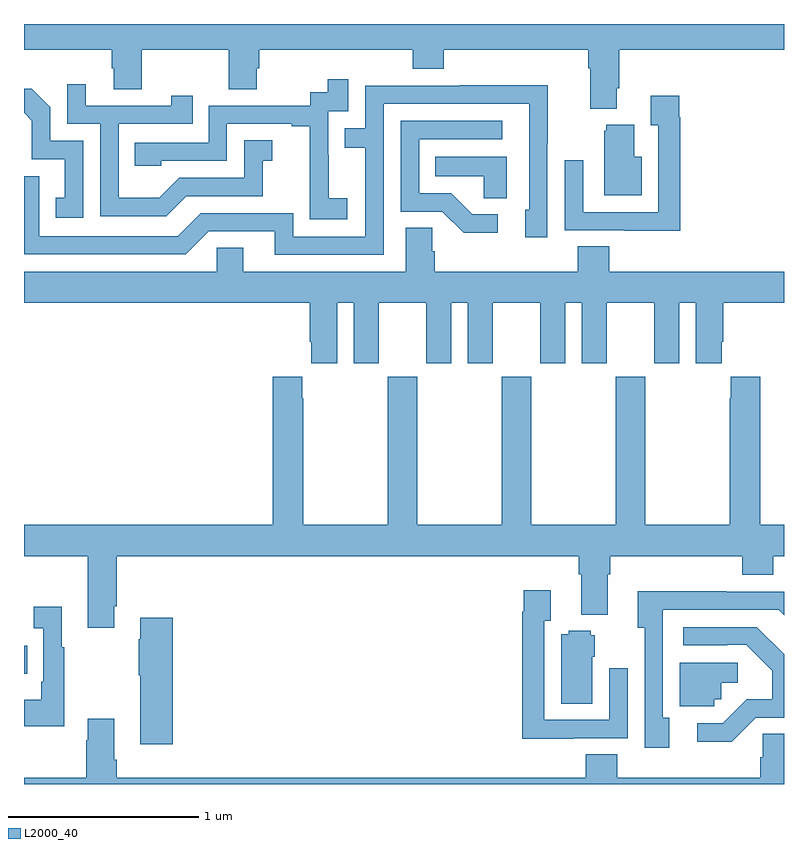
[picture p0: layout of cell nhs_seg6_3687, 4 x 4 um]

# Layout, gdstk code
import gdstk
lib = gdstk.Library(unit=1e-6, precision=1e-09)
def R(c, l, rs):  # rectangles x0, y0, x1, y1
    for r in rs: c.add(gdstk.rectangle(r[:2], r[2:], *l))
def P(c, l, *ps):  # polygons
    for p in ps: c.add(gdstk.Polygon(p, *l))
L2000_40 = (2000, 40)

nhs_seg6_3687 = lib.new_cell('nhs_seg6_3687')
R(nhs_seg6_3687, L2000_40, [(327,916.079,327.017,916.227)])
P(nhs_seg6_3687, L2000_40, [(330.121,919.162),(330.134,919.162),(330.134,919.364),(331,919.364),(331,919.5),(327,919.5),(327,919.364),(327.461,919.364),(327.461,919.266),(327.473,919.266),(327.473,919.156),(327.621,919.156),(327.621,919.364),(328.078,919.364),(328.078,919.156),(328.225,919.156),(328.225,919.266),(328.238,919.266),(328.238,919.364),(329.045,919.364),(329.045,919.265),(329.21,919.265),(329.21,919.364),(329.969,919.364),(329.969,919.268),(329.981,919.268),(329.981,919.055),(330.121,919.055)],
  [(328.702,918.583),(328.604,918.583),(328.604,918.812),(328.602,918.812),(328.602,919.041),(328.707,919.041),(328.707,919.21),(328.599,919.21),(328.599,919.14),(328.506,919.14),(328.506,919.071),(327.972,919.071),(327.972,918.876),(327.583,918.876),(327.583,918.753),(327.723,918.753),(327.723,918.78),(328.068,918.78),(328.068,918.975),(328.409,918.975),(328.409,918.963),(328.505,918.963),(328.505,918.679),(328.504,918.679),(328.504,918.473),(328.702,918.473)],
  [(327.853,918.594),(328.257,918.594),(328.257,918.779),(328.306,918.779),(328.306,918.889),(328.158,918.889),(328.158,918.69),(327.816,918.69),(327.712,918.586),(327.498,918.586),(327.498,918.975),(327.887,918.975),(327.887,919.123),(327.776,919.123),(327.776,919.071),(327.325,919.071),(327.325,919.183),(327.228,919.183),(327.228,918.975),(327.402,918.975),(327.402,918.489),(327.748,918.489)],
  [(328.893,919.08),(329.658,919.08),(329.658,918.522),(329.639,918.522),(329.639,918.378),(329.754,918.378),(329.754,918.871),(329.757,918.871),(329.757,919.178),(329.293,919.178),(329.293,919.176),(328.797,919.176),(328.797,918.951),(328.687,918.951),(328.687,918.85),(328.797,918.85),(328.797,918.381),(328.416,918.381),(328.416,918.504),(327.93,918.504),(327.81,918.384),(327.081,918.384),(327.081,918.699),(327,918.699),(327,918.288),(327.852,918.288),(327.972,918.408),(328.319,918.408),(328.319,918.285),(328.893,918.285)],
  [(327.312,918.885),(327.138,918.885),(327.138,919.062),(327.04,919.16),(327,919.16),(327,919.032),(327.042,918.99),(327.042,918.789),(327.215,918.789),(327.215,918.585),(327.166,918.585),(327.166,918.48),(327.312,918.48)],
  [(330.455,919.01),(330.448,919.01),(330.448,919.123),(330.299,919.123),(330.299,918.967),(330.339,918.967),(330.339,918.51),(329.943,918.51),(329.943,918.784),(329.847,918.784),(329.847,918.414),(330.163,918.414),(330.163,918.413),(330.455,918.413)],
  [(329.494,918.498),(329.359,918.498),(329.248,918.609),(329.079,918.609),(329.079,918.894),(329.518,918.894),(329.518,918.99),(328.983,918.99),(328.983,918.513),(329.202,918.513),(329.315,918.401),(329.494,918.401)],
  [(330.25,918.802),(330.211,918.802),(330.211,918.97),(330.065,918.97),(330.065,918.939),(330.053,918.939),(330.053,918.599),(330.25,918.599)],
  [(329.542,918.802),(329.164,918.802),(329.164,918.698),(329.421,918.698),(329.421,918.583),(329.542,918.583)],
  [(328.648,918.032),(328.736,918.032),(328.736,917.715),(328.867,917.715),(328.867,918.032),(329.117,918.032),(329.117,917.715),(329.248,917.715),(329.248,918.032),(329.336,918.032),(329.336,917.715),(329.467,917.715),(329.467,918.032),(329.717,918.032),(329.717,917.715),(329.848,917.715),(329.848,918.032),(329.936,918.032),(329.936,917.715),(330.067,917.715),(330.067,918.032),(330.317,918.032),(330.317,917.715),(330.448,917.715),(330.448,918.032),(330.536,918.032),(330.536,917.715),(330.673,917.715),(330.673,917.827),(330.68,917.827),(330.68,918.032),(331,918.032),(331,918.196),(330.08,918.196),(330.08,918.329),(329.915,918.329),(329.915,918.196),(329.162,918.196),(329.162,918.305),(329.148,918.305),(329.148,918.428),(329.009,918.428),(329.009,918.196),(328.153,918.196),(328.153,918.323),(328.014,918.323),(328.014,918.196),(327,918.196),(327,918.032),(328.505,918.032),(328.505,917.827),(328.511,917.827),(328.511,917.715),(328.648,917.715)],
  [(327.475,916.435),(327.488,916.435),(327.488,916.7),(329.921,916.7),(329.921,916.604),(329.933,916.604),(329.933,916.391),(330.073,916.391),(330.073,916.604),(330.086,916.604),(330.086,916.7),(330.779,916.7),(330.779,916.601),(330.944,916.601),(330.944,916.7),(331,916.7),(331,916.864),(330.875,916.864),(330.875,917.644),(330.719,917.644),(330.719,917.531),(330.715,917.531),(330.715,916.864),(330.27,916.864),(330.27,917.644),(330.115,917.644),(330.115,916.864),(329.67,916.864),(329.67,917.644),(329.515,917.644),(329.515,916.864),(329.07,916.864),(329.07,917.644),(328.915,917.644),(328.915,916.864),(328.47,916.864),(328.47,917.531),(328.465,917.531),(328.465,917.644),(328.31,917.644),(328.31,916.864),(327,916.864),(327,916.7),(327.335,916.7),(327.335,916.323),(327.475,916.323)],
  [(329.893,915.741),(330.177,915.741),(330.177,916.108),(330.081,916.108),(330.081,915.837),(329.739,915.837),(329.739,916.358),(329.773,916.358),(329.773,916.519),(329.631,916.519),(329.631,916.406),(329.623,916.406),(329.623,915.737),(329.893,915.737)],
  [(330.397,915.85),(330.363,915.85),(330.363,916.416),(330.972,916.416),(331,916.388),(331,916.512),(330.695,916.512),(330.695,916.514),(330.23,916.514),(330.23,916.322),(330.267,916.322),(330.267,915.69),(330.397,915.69)],
  [(327.211,916.219),(327.199,916.219),(327.199,916.432),(327.051,916.432),(327.051,916.319),(327.102,916.319),(327.102,916.039),(327.09,916.039),(327.09,915.943),(327,915.943),(327,915.803),(327.211,915.803)],
  [(327.784,916.375),(327.611,916.375),(327.611,916.262),(327.604,916.262),(327.604,916.073),(327.611,916.073),(327.611,915.708),(327.784,915.708)],
  [(330.852,915.849),(331,915.849),(331,916.182),(330.856,916.326),(330.471,916.326),(330.471,916.23),(330.701,916.23),(330.701,916.233),(330.801,916.233),(330.938,916.096),(330.938,915.946),(330.805,915.946),(330.678,915.819),(330.543,915.819),(330.543,915.722),(330.724,915.722)],
  [(329.992,916.17),(330.004,916.17),(330.004,916.284),(329.982,916.284),(329.982,916.306),(329.868,916.306),(329.868,916.288),(329.828,916.288),(329.828,915.922),(329.992,915.922)],
  [(330.633,915.945),(330.669,915.945),(330.669,916.034),(330.757,916.034),(330.757,916.137),(330.452,916.137),(330.452,915.909),(330.633,915.909)],
  [(331,915.764),(330.889,915.764),(330.889,915.642),(330.875,915.642),(330.875,915.532),(330.122,915.532),(330.122,915.656),(329.957,915.656),(329.957,915.532),(327.488,915.532),(327.488,915.628),(327.475,915.628),(327.475,915.844),(327.335,915.844),(327.335,915.731),(327.328,915.731),(327.328,915.532),(327,915.532),(327,915.5),(331,915.5)])

lib.write_gds('nhs_seg6_3687.gds')
